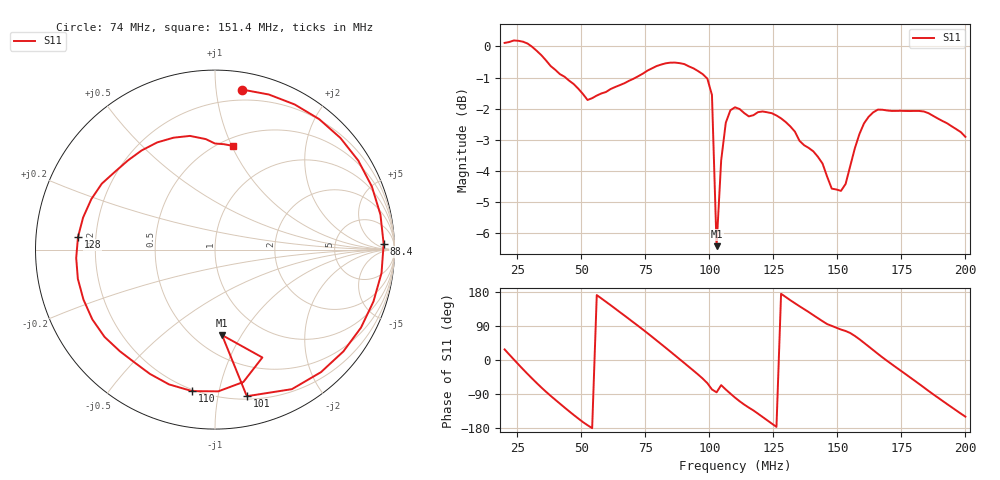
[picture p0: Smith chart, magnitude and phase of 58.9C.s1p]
# HZ S RI R 50
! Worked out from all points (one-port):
!   101 points, 20 MHz to 200 MHz, reference 50 ohm
!   lowest |S11| = -6.4 dB at 102.8 MHz (marker M1), VSWR 2.83, Z = 33.5 - j41.4 ohm
!   |S11| at or under -10 dB: nowhere
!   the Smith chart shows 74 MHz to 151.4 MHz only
!   S11 on the Smith chart (normalised r, x): 74 MHz: 0.12, +1.18; 88.4 MHz: 25, +14; 101 MHz: 0.22, -1.22; 110 MHz: 0.19, -0.83; 128 MHz: 0.13, +0.05; 151.4 MHz: 0.57, +1.01
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2e7  0.8957 0.4739
2.54e7  0.9999 -0.2073
3.26e7  0.4739 -0.8618
3.8e7  -0.0757 -0.927
4.34e7  -0.5166 -0.7299
4.88e7  -0.7721 -0.368
5.42e7  -0.826 -0.00191
6.5e7  -0.5144 0.6977
7.4e7  0.1507 0.8918
8.12e7  0.6986 0.6221
8.84e7  0.9397 0.0315
9.56e7  0.7151 -0.5675
1.01e8  0.1774 -0.8168
1.028e8  0.0392 -0.4763
1.046e8  0.2639 -0.6011
1.1e8  -0.1276 -0.7884
1.208e8  -0.6838 -0.3883
1.28e8  -0.7633 0.0705
1.334e8  -0.6308 0.3673
1.424e8  -0.2313 0.6234
1.514e8  0.0982 0.5781
1.55e8  0.2065 0.6083
1.604e8  0.5293 0.535
1.658e8  0.7597 0.2231
1.712e8  0.7736 -0.1499
1.784e8  0.5481 -0.5658
1.892e8  -0.119 -0.757
2e8  -0.617 -0.3632
